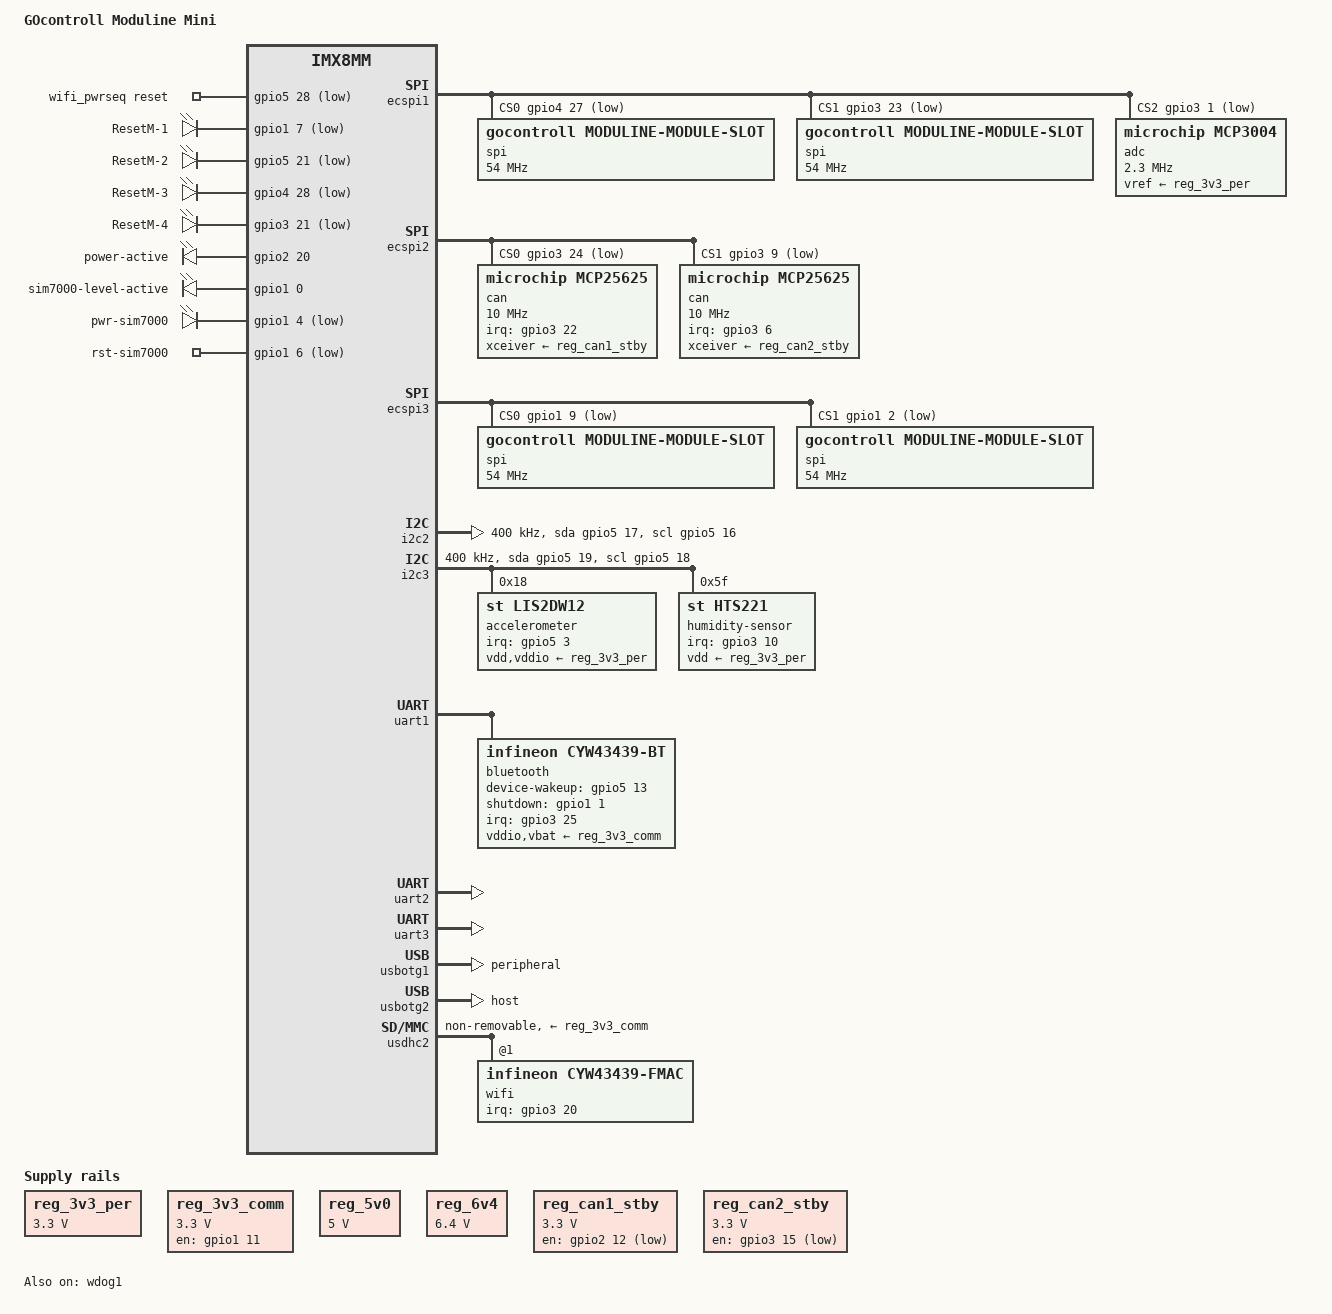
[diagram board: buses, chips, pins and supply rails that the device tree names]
// SPDX-License-Identifier: (GPL-2.0 OR MIT)
/*
 * Copyright (C) 2025 Maud Spierings <maudspierings@gocontroll.com>
 */

/dts-v1/;

#include "imx8mm-tx8m-1610.dtsi"
#include <dt-bindings/leds/common.h>

/ {
	chassis-type = "embedded";
	compatible = "gocontroll,moduline-mini", "fsl,imx8mm";
	hardware = "Moduline Mini V1.11";
	model = "GOcontroll Moduline Mini";

	aliases {
		usb-host = &usbotg2;
		usbotg = &usbotg1;
		spi0 = &ecspi2; /* spidev number compatibility */
		spi1 = &ecspi3; /* spidev number compatibility */
		spi2 = &ecspi1; /* spidev number compatibility */
	};

	chosen {
		stdout-path = "serial2:115200n8";
	};

	reg_3v3_per: regulator-3v3-per {
		compatible = "regulator-fixed";
		regulator-name = "3v3-per";
		regulator-min-microvolt = <3300000>;
		regulator-max-microvolt = <3300000>;
		regulator-always-on;
		power-supply = <&reg_6v4>;
	};

	reg_3v3_comm: regulator-3v3-communication {
		compatible = "regulator-fixed";
		regulator-name = "3v3_comm";
		regulator-min-microvolt = <3300000>;
		regulator-max-microvolt = <3300000>;
		pinctrl-names = "default";
		pinctrl-0 = <&pinctrl_reg_comm>;
		gpio = <&gpio1 11 GPIO_ACTIVE_HIGH>;
		enable-active-high;
		power-supply = <&reg_6v4>;
		/* also powers the 4g modem which can't vote on the regulator */
		regulator-always-on;
	};

	reg_5v0: regulator-5v0 {
		compatible = "regulator-fixed";
		regulator-name = "5v0";
		regulator-min-microvolt = <5000000>;
		regulator-max-microvolt = <5000000>;
		regulator-always-on;
		power-supply = <&reg_6v4>;
	};

	reg_6v4: regulator-6v4 {
		compatible = "regulator-fixed";
		regulator-name = "6v4";
		regulator-min-microvolt = <6400000>;
		regulator-max-microvolt = <6400000>;
		regulator-always-on;
	};

	reg_can1_stby: regulator-can1-stby {
		compatible = "regulator-fixed";
		regulator-name = "can1-stby";
		pinctrl-names = "default";
		pinctrl-0 = <&pinctrl_can1_reg>;
		regulator-min-microvolt = <3300000>;
		regulator-max-microvolt = <3300000>;
		gpio = <&gpio2 12 GPIO_ACTIVE_LOW>;
	};

	reg_can2_stby: regulator-can2-stby {
		compatible = "regulator-fixed";
		regulator-name = "can2-stby";
		pinctrl-names = "default";
		pinctrl-0 = <&pinctrl_can2_reg>;
		regulator-min-microvolt = <3300000>;
		regulator-max-microvolt = <3300000>;
		gpio = <&gpio3 15 GPIO_ACTIVE_LOW>;
	};

	wifi_pwrseq: wifi-pwrseq {
		compatible = "mmc-pwrseq-simple";
		pinctrl-names = "default";
		pinctrl-0 = <&pinctrl_wl_reg>;
		post-power-on-delay-ms = <100>;
		power-off-delay-us = <500000>;
		reset-gpios = <&gpio5 28 GPIO_ACTIVE_LOW>;
	};

	gpios {
		compatible = "gpio-leds";
		pinctrl-names = "default";
		pinctrl-0 = <&pinctrl_sysfs_gpios>;

		reset-module1 {
			label = "ResetM-1";
			gpios = <&gpio1 7 GPIO_ACTIVE_LOW>;
		};

		reset-module2 {
			label = "ResetM-2";
			gpios = <&gpio5 21 GPIO_ACTIVE_LOW>;
		};

		reset-module3 {
			label = "ResetM-3";
			gpios = <&gpio4 28 GPIO_ACTIVE_LOW>;
		};

		reset-module4 {
			label = "ResetM-4";
			gpios = <&gpio3 21 GPIO_ACTIVE_LOW>;
		};

		control-relais {
			label = "power-active";
			gpios = <&gpio2 20 GPIO_ACTIVE_HIGH>;
			default-state = "on";
		};

		sim7000-level {
			label = "sim7000-level-active";
			gpios = <&gpio1 0 GPIO_ACTIVE_HIGH>;
			default-state = "off";
		};

		sim7000-pwr {
			label = "pwr-sim7000";
			gpios = <&gpio1 4 GPIO_ACTIVE_LOW>;
			default-state = "off";
		};

		sim7000-rst {
			label = "rst-sim7000";
			gpios = <&gpio1 6 GPIO_ACTIVE_LOW>;
			default-state = "off";
		};
	};

	mcp_clock: mcp-clock {
		compatible = "fixed-clock";
		#clock-cells = <0>;
		clock-frequency = <20000000>;
	};
};

/*SPI 2 */
&ecspi1 {
	pinctrl-names = "default";
	pinctrl-0 = <&pinctrl_ecspi1>;
	cs-gpios = <
		&gpio4 27 GPIO_ACTIVE_LOW  /* COM pin 83 module 3 */
		&gpio3 23 GPIO_ACTIVE_LOW  /* COM pin 75 module 4 */
		&gpio3 1 GPIO_ACTIVE_LOW   /* COM pin 104 MCP 3004 */
	>;
	status = "okay";

	spi@0 { /* Module slot 3 */
		compatible = "gocontroll,moduline-module-slot";
		reg = <0>;
		spi-max-frequency = <54000000>;
	};

	spi@1 { /* Module slot 4 */
		compatible = "gocontroll,moduline-module-slot";
		reg = <1>;
		spi-max-frequency = <54000000>;
	};

	adc@2 {
		compatible = "microchip,mcp3004";
		reg = <2>;
		spi-max-frequency = <2300000>;
		vref-supply = <&reg_3v3_per>;
	};
};

/*SPI 0 */
&ecspi2 {
	pinctrl-names = "default";
	pinctrl-0 = <&pinctrl_ecspi2>;
	cs-gpios = <
		&gpio3 24  GPIO_ACTIVE_LOW
		&gpio3 9  GPIO_ACTIVE_LOW
	>;
	status = "okay";

	can@0 {
		compatible = "microchip,mcp25625";
		reg = <0>;
		pinctrl-names = "default";
		pinctrl-0 = <&pinctrl_can1>;
		clocks = <&mcp_clock>;
		xceiver-supply = <&reg_can1_stby>;
		interrupt-parent = <&gpio3>;
		interrupts = <22 IRQ_TYPE_LEVEL_LOW>;
		spi-max-frequency = <10000000>;
	};

	can@1 {
		compatible = "microchip,mcp25625";
		reg = <1>;
		pinctrl-names = "default";
		pinctrl-0 = <&pinctrl_can2>;
		clocks = <&mcp_clock>;
		xceiver-supply = <&reg_can2_stby>;
		interrupt-parent = <&gpio3>;
		interrupts = <6 IRQ_TYPE_LEVEL_LOW>;
		spi-max-frequency = <10000000>;
	};
};

/* SPI 1 */
&ecspi3 {
	pinctrl-names = "default";
	pinctrl-0 = <&pinctrl_ecspi3>;
	cs-gpios = <
		&gpio1 9 GPIO_ACTIVE_LOW
		&gpio1 2 GPIO_ACTIVE_LOW
	>;
	status = "okay";

	spi@0 { /* Module slot 1 */
		compatible = "gocontroll,moduline-module-slot";
		reg = <0>;
		spi-max-frequency = <54000000>;
	};

	spi@1 { /* Module slot 2 */
		compatible = "gocontroll,moduline-module-slot";
		reg = <1>;
		spi-max-frequency = <54000000>;
	};
};

/* I2C2 bus to modules */
&i2c2 {
	pinctrl-names = "default", "gpio";
	pinctrl-0 = <&pinctrl_i2c2>;
	pinctrl-1 = <&pinctrl_i2c2_gpio>;
	scl-gpios = <&gpio5 16 GPIO_ACTIVE_HIGH>;
	sda-gpios = <&gpio5 17 GPIO_ACTIVE_HIGH>;
	clock-frequency = <400000>;
	status = "okay";
};

&i2c3 {
	pinctrl-names = "default", "gpio";
	pinctrl-0 = <&pinctrl_i2c3>;
	pinctrl-1 = <&pinctrl_i2c3_gpio>;
	scl-gpios = <&gpio5 18 GPIO_ACTIVE_HIGH>;
	sda-gpios = <&gpio5 19 GPIO_ACTIVE_HIGH>;
	clock-frequency = <400000>;
	status = "okay";
	#address-cells = <1>;
	#size-cells = <0>;

	/*
	lp5012@14 {
		compatible = "ti,lp5012";
		reg = <0x14>;
		#address-cells = <1>;
		#size-cells = <0>;
		
		multi-led@0 {
			#address-cells = <1>;
			#size-cells = <0>;
			reg = <0>;
			color = <LED_COLOR_ID_RGB>;
			label = "led1";
			
			led@0 {
				color = <LED_COLOR_ID_RED>;
				reg = <0>;
			};

			led@1 {
				color = <LED_COLOR_ID_GREEN>;
				reg = <1>;
			};

			led@2 {
				color = <LED_COLOR_ID_BLUE>;
				reg = <2>;
			};
		};

		multi-led@1 {
			#address-cells = <1>;
			#size-cells = <0>;
			reg = <1>;
			color = <LED_COLOR_ID_RGB>;
			label = "led2";

			led@0 {
				color = <LED_COLOR_ID_RED>;
				reg = <0>;
			};

			led@1 {
				color = <LED_COLOR_ID_GREEN>;
				reg = <1>;
			};

			led@2 {
				color = <LED_COLOR_ID_BLUE>;
				reg = <2>;
			};
		};

		multi-led@2 {
			#address-cells = <1>;
			#size-cells = <0>;
			reg = <2>;
			color = <LED_COLOR_ID_RGB>;
			label = "led3";

			led@0 {
				color = <LED_COLOR_ID_RED>;
				reg = <0>;
			};

			led@1 {
				color = <LED_COLOR_ID_GREEN>;
				reg = <1>;
			};

			led@2 {
				color = <LED_COLOR_ID_BLUE>;
				reg = <2>;
			};
		};

		multi-led@3 {
			#address-cells = <1>;
			#size-cells = <0>;
			reg = <3>;
			color = <LED_COLOR_ID_RGB>;
			label = "led4";

			led@0 {
				color = <LED_COLOR_ID_RED>;
				reg = <0>;
			};

			led@1 {
				color = <LED_COLOR_ID_GREEN>;
				reg = <1>;
			};

			led@2 {
				color = <LED_COLOR_ID_BLUE>;
				reg = <2>;
			};
		};
	};
	*/

	accelerometer@18 {
		compatible = "st,lis2dw12";
		reg = <0x18>;
		vdd-supply = <&reg_3v3_per>;
		vddio-supply = <&reg_3v3_per>;
		pinctrl-names = "default";
		pinctrl-0 = <&pinctrl_lis_int>;
		interrupt-parent = <&gpio5>;
		interrupts = <3 IRQ_TYPE_EDGE_RISING>, <5 IRQ_TYPE_EDGE_RISING>;
	};

	humidity-sensor@5f {
		compatible = "st,hts221";
		reg = <0x5f>;
		vdd-supply = <&reg_3v3_per>;
		pinctrl-names = "default";
		pinctrl-0 = <&pinctrl_hts_int>;
		interrupt-parent = <&gpio3>;
		interrupts = <10 IRQ_TYPE_EDGE_RISING>;
	};
};

&iomuxc {
	pinctrl_bt: btgrp {
		fsl,pins = <
			MX8MM_IOMUXC_GPIO1_IO01_GPIO1_IO1 /* COM pin 42 */
			MX8MM_DSE_X1
			MX8MM_IOMUXC_SAI5_MCLK_GPIO3_IO25 /* COM pin 43 */
			(MX8MM_PULL_UP | MX8MM_PULL_ENABLE | MX8MM_HYS_SCHMITT)
			MX8MM_IOMUXC_ECSPI2_SS0_GPIO5_IO13 /* COM pin 44 */
			MX8MM_DSE_X1
		>;
	};

	pinctrl_can1: can1grp {
		fsl,pins = <
			MX8MM_IOMUXC_SAI2_TXC_GPIO4_IO25 /* COM pin 86 */
			(MX8MM_PULL_UP | MX8MM_PULL_ENABLE)
			MX8MM_IOMUXC_SAI5_RXD1_GPIO3_IO22 /* COM pin 74 */
			(MX8MM_PULL_UP | MX8MM_PULL_ENABLE | MX8MM_HYS_SCHMITT)
		>;
	};

	pinctrl_can1_reg: can1reggrp {
		fsl,pins = <
			MX8MM_IOMUXC_SD2_CD_B_GPIO2_IO12 /* COM pin 51 */
			(MX8MM_DSE_X2 | MX8MM_FSEL_FAST | MX8MM_PULL_UP | MX8MM_PULL_ENABLE)
		>;
	};

	pinctrl_can2: can2grp {
		fsl,pins = <
			MX8MM_IOMUXC_NAND_CLE_GPIO3_IO5 /* COM pin 112 */
			(MX8MM_PULL_UP | MX8MM_PULL_ENABLE)
			MX8MM_IOMUXC_NAND_DATA00_GPIO3_IO6 /* COM pin 108 */
			(MX8MM_PULL_UP | MX8MM_PULL_ENABLE | MX8MM_HYS_SCHMITT)
		>;
	};

	pinctrl_can2_reg: can2reggrp {
		fsl,pins = <
			MX8MM_IOMUXC_NAND_RE_B_GPIO3_IO15 /* COM pin 114 */
			(MX8MM_DSE_X2 | MX8MM_FSEL_FAST | MX8MM_PULL_UP | MX8MM_PULL_ENABLE)
		>;
	};

	pinctrl_ecspi1: ecspi1grp {
		fsl,pins = <
			MX8MM_IOMUXC_ECSPI1_MOSI_ECSPI1_MOSI /* COM pin 67 */
			MX8MM_DSE_X4
			MX8MM_IOMUXC_ECSPI1_MISO_ECSPI1_MISO /* COM pin 70 */
			(MX8MM_DSE_X4 | MX8MM_HYS_SCHMITT)
			MX8MM_IOMUXC_ECSPI1_SCLK_ECSPI1_SCLK /* COM pin 68 */
			MX8MM_DSE_X4
			MX8MM_IOMUXC_SAI2_MCLK_GPIO4_IO27 /* COM pin 83 */
			MX8MM_DSE_X1
			MX8MM_IOMUXC_SAI5_RXD2_GPIO3_IO23 /* COM pin 75 */
			MX8MM_DSE_X1
			MX8MM_IOMUXC_NAND_CE0_B_GPIO3_IO1 /* COM pin 104 */
			MX8MM_DSE_X1
		>;
	};

	pinctrl_ecspi2: ecspi2grp {
		fsl,pins = <
			MX8MM_IOMUXC_ECSPI2_MOSI_ECSPI2_MOSI /* COM pin 46 */
			MX8MM_DSE_X4
			MX8MM_IOMUXC_ECSPI2_MISO_ECSPI2_MISO /* COM pin 47 */
			(MX8MM_DSE_X4 | MX8MM_HYS_SCHMITT)
			MX8MM_IOMUXC_ECSPI2_SCLK_ECSPI2_SCLK /* COM pin 48 */
			MX8MM_DSE_X4
			MX8MM_IOMUXC_SAI5_RXD3_GPIO3_IO24 /* COM pin 76 */
			MX8MM_DSE_X1
			MX8MM_IOMUXC_NAND_DATA03_GPIO3_IO9 /* COM pin 110 */
			MX8MM_DSE_X1
		>;
	};

	pinctrl_ecspi3: ecspi3grp {
		fsl,pins = <
			MX8MM_IOMUXC_UART1_TXD_ECSPI3_MOSI /* COM pin 59 */
			MX8MM_DSE_X4
			MX8MM_IOMUXC_UART2_RXD_ECSPI3_MISO /* COM pin 64 */
			(MX8MM_DSE_X4 | MX8MM_HYS_SCHMITT)
			MX8MM_IOMUXC_UART1_RXD_ECSPI3_SCLK /* COM pin 60 */
			MX8MM_DSE_X4
			MX8MM_IOMUXC_GPIO1_IO09_GPIO1_IO9 /* COM pin 159 */
			MX8MM_DSE_X1
			MX8MM_IOMUXC_GPIO1_IO02_GPIO1_IO2 /* COM pin 153 */
			MX8MM_DSE_X1
		>;
	};

	pinctrl_hts_int: htsintgrp {
		fsl,pins = <
			MX8MM_IOMUXC_NAND_DATA04_GPIO3_IO10 /* COM pin 96 */
			(MX8MM_PULL_ENABLE | MX8MM_HYS_SCHMITT)
		>;
	};

	pinctrl_i2c2: i2c2grp {
		fsl,pins = <
			MX8MM_IOMUXC_I2C2_SCL_I2C2_SCL /* COM pin 41 */
			(MX8MM_DSE_X6 | MX8MM_FSEL_FAST | MX8MM_PULL_UP | MX8MM_HYS_SCHMITT | MX8MM_PULL_ENABLE | MX8MM_MYSTERY_BIT)
			MX8MM_IOMUXC_I2C2_SDA_I2C2_SDA /* COM pin 40 */
			(MX8MM_DSE_X6 | MX8MM_FSEL_FAST | MX8MM_PULL_UP | MX8MM_HYS_SCHMITT | MX8MM_PULL_ENABLE | MX8MM_MYSTERY_BIT)
		>;
	};

	pinctrl_i2c2_gpio: i2c2-gpiogrp {
		fsl,pins = <
			MX8MM_IOMUXC_I2C2_SCL_GPIO5_IO16 /* COM pin 41 */
			(MX8MM_DSE_X6 | MX8MM_FSEL_FAST | MX8MM_PULL_UP | MX8MM_HYS_SCHMITT | MX8MM_PULL_ENABLE | MX8MM_MYSTERY_BIT)
			MX8MM_IOMUXC_I2C2_SDA_GPIO5_IO17 /* COM pin 40 */
			(MX8MM_DSE_X6 | MX8MM_FSEL_FAST | MX8MM_PULL_UP | MX8MM_HYS_SCHMITT | MX8MM_PULL_ENABLE | MX8MM_MYSTERY_BIT)
		>;
	};

	pinctrl_i2c3: i2c3grp {
		fsl,pins = <
			MX8MM_IOMUXC_I2C3_SCL_I2C3_SCL /* COM pin 148 */
			(MX8MM_DSE_X6 | MX8MM_FSEL_FAST | MX8MM_PULL_UP | MX8MM_HYS_SCHMITT | MX8MM_PULL_ENABLE | MX8MM_MYSTERY_BIT)
			MX8MM_IOMUXC_I2C3_SDA_I2C3_SDA /* COM pin 149 */
			(MX8MM_DSE_X6 | MX8MM_FSEL_FAST | MX8MM_PULL_UP | MX8MM_HYS_SCHMITT | MX8MM_PULL_ENABLE | MX8MM_MYSTERY_BIT)
		>;
	};

	pinctrl_i2c3_gpio: i2c3-gpiogrp {
		fsl,pins = <
			MX8MM_IOMUXC_I2C3_SCL_GPIO5_IO18 /* COM pin 148 */
			(MX8MM_DSE_X6 | MX8MM_FSEL_FAST | MX8MM_PULL_UP | MX8MM_HYS_SCHMITT | MX8MM_PULL_ENABLE | MX8MM_MYSTERY_BIT)
			MX8MM_IOMUXC_I2C3_SDA_GPIO5_IO19 /* COM pin 149 */
			(MX8MM_DSE_X6 | MX8MM_FSEL_FAST | MX8MM_PULL_UP | MX8MM_HYS_SCHMITT | MX8MM_PULL_ENABLE | MX8MM_MYSTERY_BIT)
		>;
	};

	pinctrl_lis_int: lisintgrp {
		fsl,pins = <
			MX8MM_IOMUXC_SPDIF_TX_GPIO5_IO3 /* COM pin 144 */
			(MX8MM_PULL_ENABLE | MX8MM_HYS_SCHMITT)
			MX8MM_IOMUXC_SPDIF_EXT_CLK_GPIO5_IO5 /* COM pin 146 */
			(MX8MM_PULL_ENABLE | MX8MM_HYS_SCHMITT)
		>;
	};

	pinctrl_reg_comm: reg_commgrp {
		fsl,pins = <
			MX8MM_IOMUXC_GPIO1_IO11_GPIO1_IO11 /* COM pin 162 */
			MX8MM_DSE_X1
		>;
	};

	pinctrl_sysfs_gpios: sysfsgpiogrp {
		fsl,pins = <
			MX8MM_IOMUXC_GPIO1_IO07_GPIO1_IO7 /* COM pin 157 */
			MX8MM_DSE_X1
			MX8MM_IOMUXC_I2C4_SDA_GPIO5_IO21 /* COM pin 151 */
			MX8MM_DSE_X1
			MX8MM_IOMUXC_SAI3_RXFS_GPIO4_IO28 /* COM pin 81 */
			MX8MM_DSE_X1
			MX8MM_IOMUXC_SAI5_RXD0_GPIO3_IO21 /* COM pin 73 */
			MX8MM_DSE_X1
			MX8MM_IOMUXC_SD2_WP_GPIO2_IO20 /* COM pin 45 */
			MX8MM_DSE_X1
			MX8MM_IOMUXC_GPIO1_IO00_GPIO1_IO0 /* COM pin 152 */
			MX8MM_DSE_X1
			MX8MM_IOMUXC_GPIO1_IO04_GPIO1_IO4 /* COM pin 154 */
			MX8MM_DSE_X1
			MX8MM_IOMUXC_GPIO1_IO06_GPIO1_IO6 /* COM pin 156 */
			MX8MM_DSE_X1
		>;
	};

	pinctrl_uart1: uart1grp {
		fsl,pins = <
			MX8MM_IOMUXC_SAI2_RXC_UART1_DCE_RX /* COM pin 78 */
			(MX8MM_PULL_UP | MX8MM_PULL_ENABLE)
			MX8MM_IOMUXC_SAI2_RXFS_UART1_DCE_TX /* COM pin 79 */
			(MX8MM_PULL_UP | MX8MM_PULL_ENABLE)
			MX8MM_IOMUXC_SAI2_RXD0_UART1_DCE_RTS_B /* COM pin 84 */
			(MX8MM_PULL_UP | MX8MM_PULL_ENABLE)
			MX8MM_IOMUXC_SAI2_TXFS_UART1_DCE_CTS_B /* COM pin 87 */
			(MX8MM_PULL_UP | MX8MM_PULL_ENABLE)
		>;
	};

	pinctrl_uart2: uart2grp {
		fsl,pins = <
			MX8MM_IOMUXC_SAI3_TXFS_UART2_DCE_RX /* COM pin 93 */
			(MX8MM_PULL_UP | MX8MM_PULL_ENABLE)
			MX8MM_IOMUXC_SAI3_TXC_UART2_DCE_TX /* COM pin 92 */
			(MX8MM_PULL_UP | MX8MM_PULL_ENABLE)
			MX8MM_IOMUXC_SAI3_RXD_UART2_DCE_RTS_B /* COM pin 90 */
			(MX8MM_PULL_UP | MX8MM_PULL_ENABLE)
			MX8MM_IOMUXC_SAI3_RXC_UART2_DCE_CTS_B /* COM pin 80 */
			(MX8MM_PULL_UP | MX8MM_PULL_ENABLE)
		>;
	};

	pinctrl_uart3: uart3grp {
		fsl,pins = <
			MX8MM_IOMUXC_UART3_RXD_UART3_DCE_RX /* COM pin 62 */
			(MX8MM_PULL_UP | MX8MM_PULL_ENABLE)
			MX8MM_IOMUXC_UART3_TXD_UART3_DCE_TX /* COM pin 61 */
			(MX8MM_PULL_UP | MX8MM_PULL_ENABLE)
		>;
	};

	pinctrl_usdhc2: pinctrlusdhc2grp {
		fsl,pins = <
			MX8MM_IOMUXC_SD2_CLK_USDHC2_CLK /* COM pin 57 */
			(MX8MM_DSE_X2 | MX8MM_FSEL_FAST | MX8MM_PULL_ENABLE)
			MX8MM_IOMUXC_SD2_CMD_USDHC2_CMD /* COM pin 56 */
			(MX8MM_DSE_X2 | MX8MM_FSEL_FAST | MX8MM_PULL_UP | MX8MM_HYS_SCHMITT | MX8MM_PULL_ENABLE)
			MX8MM_IOMUXC_SD2_DATA0_USDHC2_DATA0 /* COM pin 52 */
			(MX8MM_DSE_X2 | MX8MM_FSEL_FAST | MX8MM_PULL_UP | MX8MM_HYS_SCHMITT | MX8MM_PULL_ENABLE)
			MX8MM_IOMUXC_SD2_DATA1_USDHC2_DATA1 /* COM pin 53 */
			(MX8MM_DSE_X2 | MX8MM_FSEL_FAST | MX8MM_PULL_UP | MX8MM_HYS_SCHMITT | MX8MM_PULL_ENABLE)
			MX8MM_IOMUXC_SD2_DATA2_USDHC2_DATA2 /* COM pin 54 */
			(MX8MM_DSE_X2 | MX8MM_FSEL_FAST | MX8MM_PULL_UP | MX8MM_HYS_SCHMITT | MX8MM_PULL_ENABLE)
			MX8MM_IOMUXC_SD2_DATA3_USDHC2_DATA3 /* COM pin 55 */
			(MX8MM_DSE_X2 | MX8MM_FSEL_FAST | MX8MM_PULL_UP | MX8MM_HYS_SCHMITT | MX8MM_PULL_ENABLE)
		>;
	};

	pinctrl_wl_int: wlintgrp {
		fsl,pins = <
			MX8MM_IOMUXC_SAI5_RXC_GPIO3_IO20 /* COM pin 72 */
			(MX8MM_PULL_UP | MX8MM_HYS_SCHMITT | MX8MM_PULL_ENABLE)
		>;
	};

	pinctrl_wl_reg: wlreggrp {
		fsl,pins = <
			MX8MM_IOMUXC_UART4_RXD_GPIO5_IO28 /* COM pin 66 */
			MX8MM_DSE_X1
		>;
	};
};

&uart1 {
	pinctrl-names = "default";
	pinctrl-0 = <&pinctrl_uart1>;
	uart-has-rtscts;
	status = "okay";

	bluetooth { /* muRata 1YN/1DX */
		compatible = "infineon,cyw43439-bt", "brcm,bcm4329-bt";
		max-speed = <921600>;
		pinctrl-names = "default";
		pinctrl-0 = <&pinctrl_bt>;
		device-wakeup-gpios = <&gpio5 13 GPIO_ACTIVE_HIGH>;
		shutdown-gpios = <&gpio1 1 GPIO_ACTIVE_HIGH>;
		interrupt-parent = <&gpio3>;
		interrupts = <25 IRQ_TYPE_EDGE_FALLING>;
		interrupt-names = "host-wakeup";
		vddio-supply = <&reg_3v3_comm>;
		vbat-supply = <&reg_3v3_comm>;
	};
};

/* mPCIE modem */
&uart2 {
	pinctrl-names = "default";
	pinctrl-0 = <&pinctrl_uart2>;
	uart-has-rtscts;
	status = "okay";
};

/* debug/external */
&uart3 {
	pinctrl-names = "default";
	pinctrl-0 = <&pinctrl_uart3>;
	status = "okay";
};

&usbotg1 {
	dr_mode = "peripheral";
	status = "okay";
};

&usbotg2 {
	dr_mode = "host";
	status = "okay";
};

&usdhc2 {
	max-frequency = <50000000>;
	#address-cells = <1>;
	#size-cells = <0>;
	pinctrl-names = "default";
	pinctrl-0 = <&pinctrl_usdhc2>;
	mmc-pwrseq = <&wifi_pwrseq>;
	vmmc-supply = <&reg_3v3_comm>;

	cap-power-off-card;
	keep-power-in-suspend;
	non-removable;
	sd-uhs-sdr25;

	status = "okay";

	wifi@1 { /* muRata 1YN/1DX */
		compatible = "infineon,cyw43439-fmac", "brcm,bcm4329-fmac";
		reg = <1>;
		brcm,board-type = "GOcontroll,moduline";
		pinctrl-names = "default";
		pinctrl-0 = <&pinctrl_wl_int>;
		interrupt-parent = <&gpio3>;
		interrupts = <20 IRQ_TYPE_LEVEL_LOW>;
		interrupt-names = "host-wake";
	};
};

&wdog1 {
	status = "okay";
};
